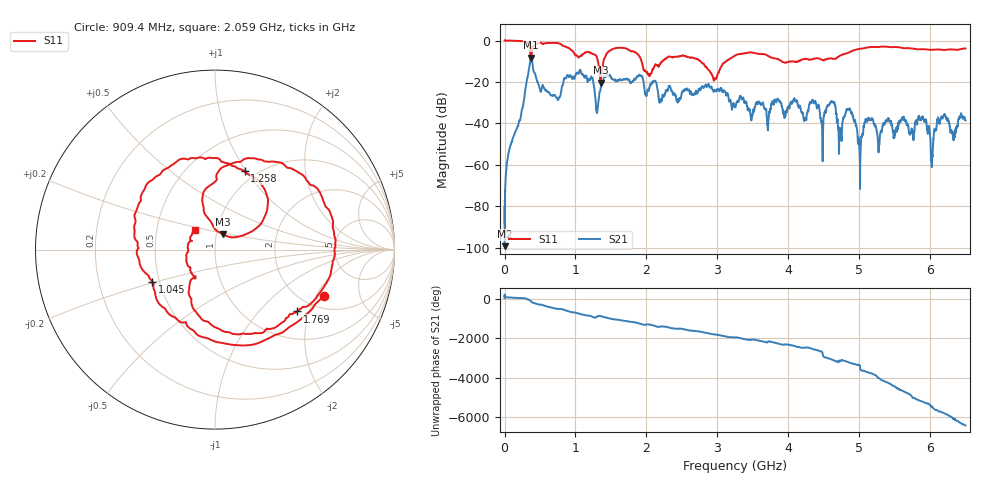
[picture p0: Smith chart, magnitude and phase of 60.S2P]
!Keysight Technologies,E5063A,MY54503115,A.05.08
!Date: Mon Dec 11 14:25:44 2023
!Data & Calibration Information:
!Freq	S11:NONE(--)	S21:NONE(--)	S12:NONE(--)	S22:NONE(--)
# Hz S dB R 50
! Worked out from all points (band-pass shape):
!   10001 points, 100 kHz to 6.5 GHz, reference 50 ohm
!   highest |S21| = -8.18 dB at 375.1 MHz (marker M1); lowest = -99.3 dB at 2.7 MHz (marker M2)
!   |S21| within 3 dB of the highest: 354.1 MHz to 392.9 MHz (38.81 MHz wide, 10.4 % of centre)
!   lowest |S11| = -20.3 dB at 1.353 GHz (marker M3), VSWR 1.21, Z = 53.6 + j9.35 ohm
!   |S11| at or under -10 dB: 1.93 GHz to 2.224 GHz (293.9 MHz wide, 14.1 % of centre); 2.766 GHz to 3.126 GHz (360.4 MHz wide, 12.2 % of centre); 3.909 GHz to 4.02 GHz (110.8 MHz wide, 2.8 % of centre) (the widest 3 of 7)
!   S12 and S22 are empty: the file has one direction only
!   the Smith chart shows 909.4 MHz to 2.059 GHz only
!   S11 on the Smith chart (normalised r, x): 909.4 MHz: 2.57, -2.32; 1.045 GHz: 0.46, -0.19; 1.258 GHz: 0.88, +0.98; 1.769 GHz: 1.63, -1.67; 2.059 GHz: 0.78, +0.18
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100000  0.05 -0.6  -87.90 38.3  -200.00 0.0  -200.00 0.0
2699960  0.00 -1.2  -99.30 150.7  -200.00 0.0  -200.00 0.0
2.308464e8  -0.21 -76.7  -36.09 49.0  -200.00 0.0  -200.00 0.0
3.751442e8  -10.29 -111.8  -8.18 -132.7  -200.00 0.0  -200.00 0.0
5.779411e8  -1.30 168.7  -24.20 -3.8  -200.00 0.0  -200.00 0.0
7.287388e8  -1.14 96.0  -27.45 -140.0  -200.00 0.0  -200.00 0.0
9.09436e8  -3.64 -22.9  -17.72 81.3  -200.00 0.0  -200.00 0.0
1.045284e9  -8.15 -152.9  -15.94 -21.4  -200.00 0.0  -200.00 0.0
1.083633e9  -7.31 177.8  -15.94 -68.7  -200.00 0.0  -200.00 0.0
1.258481e9  -6.62 69.2  -21.59 145.1  -200.00 0.0  -200.00 0.0
1.353379e9  -20.33 63.8  -23.51 -153.7  -200.00 0.0  -200.00 0.0
1.768723e9  -4.84 -37.0  -20.06 -88.7  -200.00 0.0  -200.00 0.0
2.058618e9  -16.14 134.9  -21.51 127.9  -200.00 0.0  -200.00 0.0
2.167167e9  -12.06 39.5  -26.33 11.9  -200.00 0.0  -200.00 0.0
3.25005e9  -7.28 -49.4  -32.13 -154.3  -200.00 0.0  -200.00 0.0
4.333583e9  -9.13 -127.9  -29.25 -4.2  -200.00 0.0  -200.00 0.0
4.731377e9  -7.31 -133.3  -43.22 110.7  -200.00 0.0  -200.00 0.0
4.869825e9  -5.60 -142.0  -32.74 -1.3  -200.00 0.0  -200.00 0.0
5.009573e9  -4.03 -157.6  -55.84 -140.1  -200.00 0.0  -200.00 0.0
5.417117e9  -3.09 161.8  -37.68 44.1  -200.00 0.0  -200.00 0.0
6.028757e9  -4.50 127.5  -58.61 -70.3  -200.00 0.0  -200.00 0.0
6.5e9  -3.85 108.4  -38.59 53.5  -200.00 0.0  -200.00 0.0
